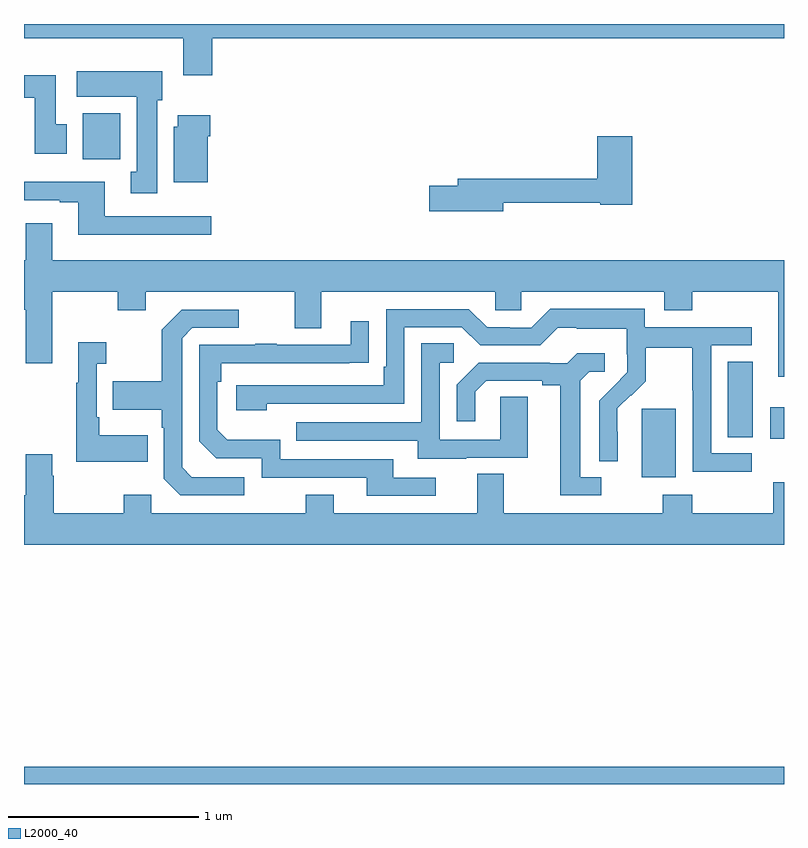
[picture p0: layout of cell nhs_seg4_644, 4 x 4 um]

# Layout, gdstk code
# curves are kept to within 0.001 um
import gdstk
lib = gdstk.Library(unit=1e-6, precision=1e-09)
def R(c, l, rs):  # rectangles x0, y0, x1, y1
    for r in rs: c.add(gdstk.rectangle(r[:2], r[2:], *l))
def P(c, l, *ps):  # polygons
    for p in ps: c.add(gdstk.Polygon(p, *l))
L2000_40 = (2000, 40)

nhs_seg4_644 = lib.new_cell('nhs_seg4_644')
R(nhs_seg4_644, L2000_40, [(143,788.9,147,788.992), (146.252,790.514,146.431,790.875), (146.928,790.718,147,790.882), (146.705,790.726,146.836,791.123), (143.309,792.188,143.506,792.43)])
P(nhs_seg4_644, L2000_40, [(143.99,792.824),(147,792.824),(147,792.9),(143,792.9),(143,792.824),(143.837,792.824),(143.837,792.63),(143.99,792.63)],
  [(143.701,792.498),(143.728,792.498),(143.728,792.652),(143.277,792.652),(143.277,792.518),(143.594,792.518),(143.594,792.122),(143.561,792.122),(143.561,792.009),(143.701,792.009)],
  [(143.224,792.372),(143.167,792.372),(143.167,792.631),(143,792.631),(143,792.512),(143.057,792.512),(143.057,792.216),(143.224,792.216)],
  [(143.968,792.308),(143.981,792.308),(143.981,792.421),(143.81,792.421),(143.81,792.36),(143.789,792.36),(143.789,792.068),(143.968,792.068)],
  [(145.522,791.958),(146.034,791.958),(146.034,791.95),(146.201,791.95),(146.201,792.31),(146.018,792.31),(146.018,792.086),(145.283,792.086),(145.283,792.05),(145.134,792.05),(145.134,791.915),(145.522,791.915)],
  [(143.986,791.889),(143.425,791.889),(143.425,792.07),(143,792.07),(143,791.973),(143.189,791.973),(143.189,791.961),(143.285,791.961),(143.285,791.792),(143.986,791.792)],
  [(147,791.656),(143.149,791.656),(143.149,791.851),(143.009,791.851),(143.009,791.656),(143,791.656),(143,791.396),(143.009,791.396),(143.009,791.115),(143.149,791.115),(143.149,791.492),(143.494,791.492),(143.494,791.393),(143.641,791.393),(143.641,791.492),(144.425,791.492),(144.425,791.298),(144.565,791.298),(144.565,791.492),(145.479,791.492),(145.479,791.394),(145.617,791.394),(145.617,791.492),(146.369,791.492),(146.369,791.393),(146.517,791.393),(146.517,791.492),(146.969,791.492),(146.969,791.043),(147,791.043)],
  [(146.83,790.641),(146.616,790.641),(146.616,791.208),(146.83,791.208),(146.83,791.304),(146.268,791.304),(146.268,791.401),(145.771,791.401),(145.671,791.301),(145.556,791.301),(145.556,791.304),(145.437,791.304),(145.341,791.4),(144.906,791.4),(144.906,791.095),(144.893,791.095),(144.893,790.998),(144.117,790.998),(144.117,790.868),(144.278,790.868),(144.278,790.902),(145.002,790.902),(145.002,791.304),(145.305,791.304),(145.401,791.208),(145.716,791.208),(145.809,791.301),(145.909,791.301),(145.909,791.297),(146.172,791.297),(146.172,791.163),(146.174,791.163),(146.174,791.066),(146.028,790.918),(146.028,790.6),(146.124,790.6),(146.123,790.877),(146.193,790.947),(146.196,790.944),(146.273,791.021),(146.273,791.196),(146.518,791.196),(146.518,790.972),(146.52,790.972),(146.52,790.543),(146.83,790.543)],
  [(144.16,790.515),(143.883,790.515),(143.832,790.566),(143.832,791.247),(143.886,791.301),(144.13,791.301),(144.13,791.397),(143.829,791.397),(143.724,791.291),(143.724,791.019),(143.467,791.019),(143.467,790.871),(143.724,790.871),(143.724,790.775),(143.736,790.775),(143.736,790.506),(143.823,790.419),(144.16,790.419)],
  [(145.168,790.512),(144.943,790.512),(144.943,790.608),(144.348,790.608),(144.348,790.711),(144.071,790.711),(144.018,790.764),(144.018,791.018),(144.038,791.018),(144.038,791.115),(144.815,791.116),(144.815,791.335),(144.719,791.335),(144.719,791.211),(144.329,791.211),(144.329,791.216),(144.217,791.216),(144.217,791.211),(143.922,791.211),(143.922,790.704),(144.012,790.614),(144.252,790.614),(144.252,790.512),(144.803,790.512),(144.803,790.416),(145.168,790.416)],
  [(143.651,790.735),(143.395,790.735),(143.395,790.831),(143.382,790.831),(143.382,791.111),(143.434,791.111),(143.434,791.224),(143.285,791.224),(143.285,791.011),(143.274,791.011),(143.274,790.595),(143.651,790.595)],
  [(145.327,790.617),(145.651,790.617),(145.651,790.937),(145.506,790.937),(145.506,790.713),(145.188,790.713),(145.188,791.118),(145.261,791.118),(145.261,791.219),(145.092,791.219),(145.092,790.803),(144.433,790.803),(144.433,790.707),(145.073,790.707),(145.073,790.613),(145.327,790.613)],
  [(146.038,790.515),(145.927,790.515),(145.927,791.023),(145.974,791.07),(146.056,791.07),(146.056,791.167),(145.912,791.167),(145.86,791.115),(145.766,791.115),(145.766,791.118),(145.394,791.118),(145.278,791.002),(145.278,790.809),(145.375,790.809),(145.375,790.965),(145.432,791.022),(145.727,791.022),(145.727,791),(145.823,791),(145.823,790.419),(146.038,790.419)],
  [(147,790.489),(146.944,790.489),(146.944,790.324),(146.517,790.324),(146.517,790.423),(146.362,790.423),(146.362,790.324),(145.525,790.324),(145.525,790.532),(145.385,790.532),(145.385,790.324),(144.631,790.324),(144.631,790.423),(144.484,790.423),(144.484,790.324),(143.67,790.324),(143.67,790.423),(143.524,790.423),(143.524,790.324),(143.157,790.324),(143.157,790.523),(143.149,790.523),(143.149,790.636),(143.009,790.636),(143.009,790.42),(143,790.42),(143,790.16),(147,790.16)])

lib.write_gds('nhs_seg4_644.gds')
